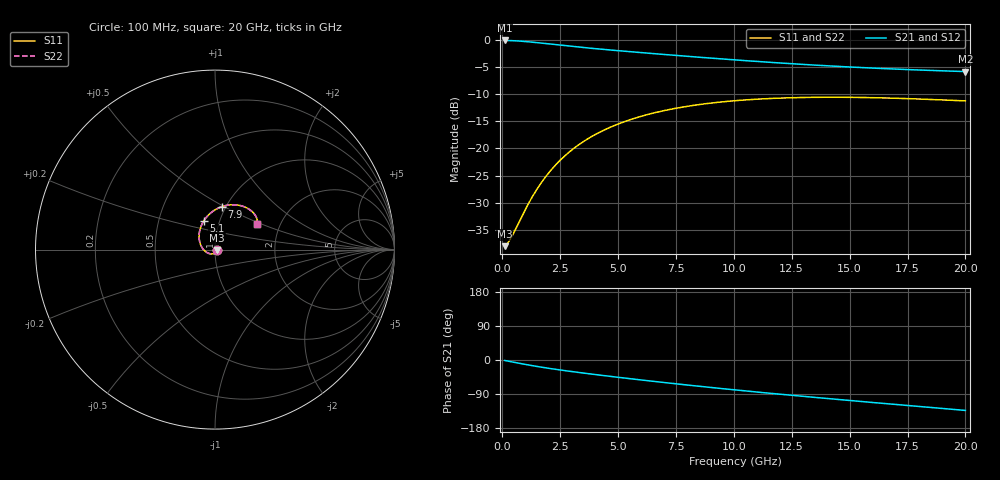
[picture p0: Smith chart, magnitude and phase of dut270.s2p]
! Created with skrf 1.9.0 (http://scikit-rf.org).
# GHz S RI R 50.0
!freq ReS11 ImS11 ReS21 ImS21 ReS12 ImS12 ReS22 ImS22
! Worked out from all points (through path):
!   200 points, 100 MHz to 20 GHz, reference 50 ohm
!   highest |S21| = -0.11 dB at 100 MHz (marker M1); lowest = -5.8 dB at 20 GHz (marker M2)
!   group delay of S21, straight-line fit = 17.5 ps
!   lowest |S11| = -38.0 dB at 100 MHz (marker M3), VSWR 1.03, Z = 51.2 - j0.36 ohm
!   |S11| at or under -10 dB: start of sweep to end of sweep
!   |S22| runs from -38.0 to -10.6 dB; largest |S21 - S12| = 2.6e-15
!   S11 on the Smith chart (normalised r, x): 100 MHz: 1.02, -0.01; 5.1 GHz: 0.84, +0.27; 7.9 GHz: 0.96, +0.49; 20 GHz: 1.52, +0.47
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0.1  0.0121 -0.00352  0.9872 -0.0209  0.9872 -0.0209  0.0121 -0.00352
0.2  0.0112 -0.00685  0.9857 -0.0418  0.9857 -0.0418  0.0112 -0.00685
0.4  0.00783 -0.0131  0.9801 -0.0829  0.9801 -0.0829  0.00783 -0.0131
1.2  -0.0226 -0.0241  0.9287 -0.2301  0.9287 -0.2301  -0.0226 -0.0241
1.5  -0.037 -0.0203  0.9015 -0.2762  0.9015 -0.2762  -0.037 -0.0203
1.8  -0.0508 -0.0125  0.8723 -0.3173  0.8723 -0.3173  -0.0508 -0.0125
2.2  -0.0666 0.00304  0.8319 -0.3652  0.8319 -0.3652  -0.0666 0.00304
2.6  -0.0784 0.0228  0.7911 -0.4064  0.7911 -0.4064  -0.0784 0.0228
3  -0.0857 0.0449  0.7506 -0.4423  0.7506 -0.4423  -0.0857 0.0449
3.5  -0.0887 0.0739  0.7007 -0.4813  0.7007 -0.4813  -0.0887 0.0739
4.3  -0.0817 0.1189  0.6225 -0.5327  0.6225 -0.5327  -0.0817 0.1189
5.1  -0.0635 0.1586  0.5461 -0.5731  0.5461 -0.5731  -0.0635 0.1586
5.9  -0.0381 0.1911  0.4712 -0.6039  0.4712 -0.6039  -0.0381 0.1911
6.8  -0.00476 0.2184  0.3893 -0.628  0.3893 -0.628  -0.00476 0.2184
7.9  0.0383 0.2394  0.2938 -0.644  0.2938 -0.644  0.0383 0.2394
9  0.0801 0.2488  0.2045 -0.6475  0.2045 -0.6475  0.0801 0.2488
10.1  0.118 0.2491  0.1221 -0.641  0.1221 -0.641  0.118 0.2491
11.7  0.1637 0.2383  0.015 -0.6179  0.015 -0.6179  0.1637 0.2383
13.4  0.1989 0.2185  -0.0832 -0.581  -0.0832 -0.581  0.1989 0.2185
15  0.2204 0.197  -0.1628 -0.5383  -0.1628 -0.5383  0.2204 0.197
16.7  0.2325 0.1749  -0.2357 -0.4869  -0.2357 -0.4869  0.2325 0.1749
20  0.2333 0.1433  -0.3486 -0.3729  -0.3486 -0.3729  0.2333 0.1433
